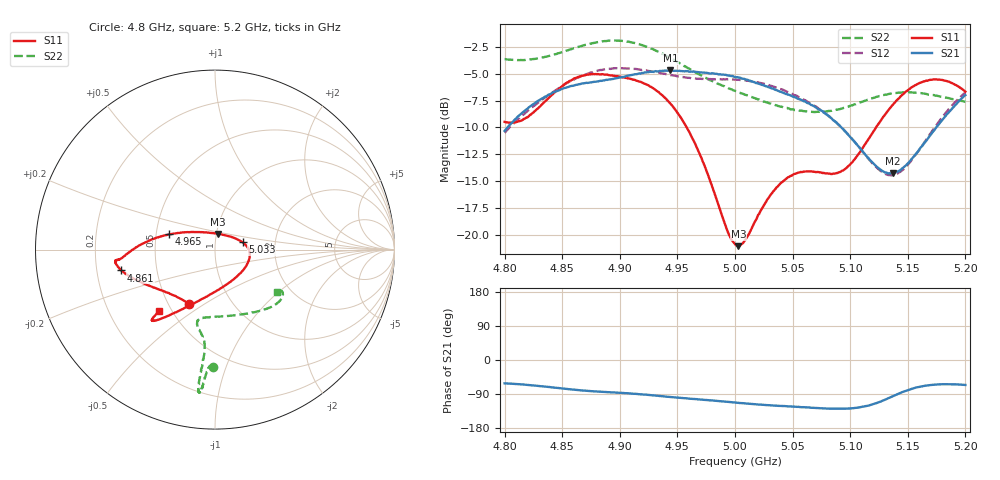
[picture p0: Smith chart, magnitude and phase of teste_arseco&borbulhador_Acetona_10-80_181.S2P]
! Network Analyzer HP8722D
! Hewlett-Packard
! Data name: Linha & Wilkinson
! Saver's name: Rodrigo Anjos
! Comments: Teste da utilização de aquisição
! continua pelo VNA HP8722D
! Time and date: 17/4/2025 15:52
!  Frequency  S11  S21  S12  S22
# HZ  S  MA R 50
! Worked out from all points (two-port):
!   401 points, 4.8 GHz to 5.2 GHz, reference 50 ohm
!   highest |S21| = -4.70 dB at 4.944 GHz (marker M1); lowest = -14.3 dB at 5.137 GHz (marker M2)
!   |S21| within 3 dB of the highest: 4.827 GHz to 5.062 GHz (235.7 MHz wide, 4.77 % of centre); 5.19316 GHz to end of sweep
!   lowest |S11| = -21.0 dB at 5.003 GHz (marker M3), VSWR 1.20, Z = 50.8 + j8.96 ohm
!   |S11| at or under -10 dB: 4.958 GHz to 5.122 GHz (164.2 MHz wide, 3.26 % of centre)
!   |S22| runs from -8.6 to -1.9 dB; largest |S21 - S12| = 0.87
!   S11 on the Smith chart (normalised r, x): 4.8 GHz: 0.63, -0.43; 4.861 GHz: 0.31, -0.10; 4.965 GHz: 0.59, +0.11; 5.033 GHz: 1.36, +0.11; 5.2 GHz: 0.43, -0.37
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4.8e9  0.3357 -115.4  0.3051 -61.7  0.2991 -175.8  0.6569 -90.9
4.819e9  0.352 -135.6  0.3839 -65.6  0.3731 -175.2  0.6534 -92.5
4.861e9  0.5357 -167.5  0.4965 -78.5  0.5316 -178.4  0.7391 -94.9
4.867e9  0.5492 -169.9  0.5061 -80.4  0.5492 -179.7  0.756 -95.0
4.9e9  0.5447 -173.9  0.5394 -86.7  0.5962 173.9  0.7989 -96.5
4.934e9  0.4603 -179.9  0.5769 -94.8  0.569 170.7  0.7073 -96.7
4.944e9  0.4082 175.6  0.5821 -97.6  0.5534 170.8  0.6641 -96.4
4.965e9  0.2688 161.6  0.5738 -103.2  0.5339 172.7  0.572 -95.9
4.993e9  0.1061 116.0  0.5521 -110.2  0.5305 174.9  0.4855 -98.5
5e9  0.09092 91.6  0.5428 -112.3  0.5274 174.9  0.468 -99.8
5.003e9  0.08892 80.0  0.5394 -113.0  0.5266 175.0  0.4609 -100.6
5.01e9  0.09707 55.6  0.5267 -114.7  0.5211 174.6  0.4469 -101.9
5.033e9  0.1591 14.8  0.4789 -120.0  0.4898 173.6  0.4048 -103.7
5.05e9  0.1904 -1.9  0.4403 -122.9  0.4522 173.0  0.3834 -98.9
5.067e9  0.1975 -20.2  0.4015 -126.1  0.4058 172.7  0.3735 -89.3
5.096e9  0.2037 -70.6  0.3016 -128.4  0.3021 174.6  0.3922 -66.7
5.121e9  0.3076 -109.3  0.2125 -115.7  0.2109 -170.5  0.4353 -49.7
5.134e9  0.3854 -119.5  0.1939 -99.7  0.1902 -152.6  0.4528 -43.2
5.137e9  0.4027 -121.2  0.1936 -95.6  0.1904 -147.9  0.4558 -41.9
5.15e9  0.4707 -126.8  0.2152 -79.5  0.2121 -129.1  0.4605 -37.2
5.17e9  0.5265 -131.1  0.293 -66.0  0.2978 -112.3  0.4493 -32.7
5.2e9  0.4637 -132.3  0.447 -65.9  0.459 -108.0  0.4165 -34.4
